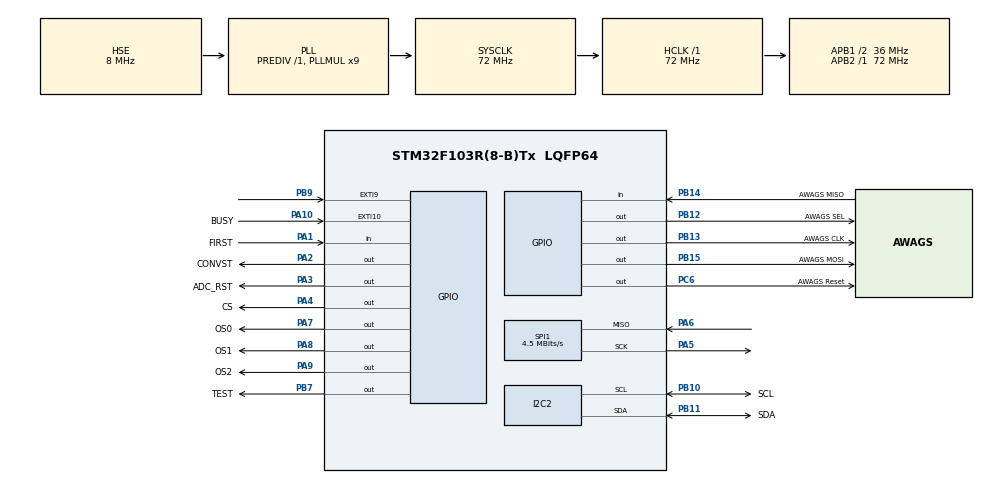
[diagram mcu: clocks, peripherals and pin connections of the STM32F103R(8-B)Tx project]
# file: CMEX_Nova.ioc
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I2C2.NoStretchMode=I2C_NOSTRETCH_DISABLE
I2C2.OwnAddress=22
Mcu.Family=STM32F1
Mcu.Name=STM32F103R(8-B)Tx
Mcu.Package=LQFP64
NVIC.EXTI15_10_IRQn=true\:6\:0\:true\:false\:true\:true\:true\:true
NVIC.I2C2_ER_IRQn=true\:7\:0\:true\:false\:true\:true\:true\:true
NVIC.I2C2_EV_IRQn=true\:7\:0\:true\:false\:true\:true\:true\:true
NVIC.PriorityGroup=NVIC_PRIORITYGROUP_4
NVIC.SPI1_IRQn=true\:2\:0\:true\:false\:true\:true\:true\:true
NVIC.TIM1_UP_IRQn=true\:10\:0\:true\:false\:true\:true\:true\:true
NVIC.TIM3_IRQn=true\:6\:0\:true\:false\:true\:true\:true\:true
PA1.GPIO_Label=FIRST
PA1.Signal=GPIO_Input
PA10.GPIO_Label=BUSY
PA10.GPIO_ModeDefaultEXTI=GPIO_MODE_IT_RISING_FALLING
PA10.Signal=GPXTI10
PA13.Mode=Serial_Wire
PA13.Signal=SYS_JTMS-SWDIO
PA14.Mode=Serial_Wire
PA14.Signal=SYS_JTCK-SWCLK
PA2.GPIO_Label=CONVST
PA2.GPIO_Speed=GPIO_SPEED_FREQ_HIGH
PA2.Signal=GPIO_Output
PA3.GPIO_Label=ADC_RST
PA3.GPIO_Speed=GPIO_SPEED_FREQ_HIGH
PA3.Signal=GPIO_Output
PA4.GPIO_Label=CS
PA4.GPIO_Speed=GPIO_SPEED_FREQ_HIGH
PA4.PinState=GPIO_PIN_SET
PA4.Signal=GPIO_Output
PA5.GPIO_Mode=GPIO_MODE_AF_PP
PA5.Mode=RX_Only_Simplex_Unidirect_Master
PA5.Signal=SPI1_SCK
PA6.Mode=RX_Only_Simplex_Unidirect_Master
PA6.Signal=SPI1_MISO
PA7.GPIO_Label=OS0
PA7.GPIO_Speed=GPIO_SPEED_FREQ_HIGH
PA7.Signal=GPIO_Output
PA8.GPIO_Label=OS1
PA8.GPIO_Speed=GPIO_SPEED_FREQ_HIGH
PA8.Signal=GPIO_Output
PA9.GPIO_Label=OS2
PA9.GPIO_Speed=GPIO_SPEED_FREQ_HIGH
PA9.Signal=GPIO_Output
PB10.GPIO_Label=SCL
PB10.Mode=I2C
PB10.Signal=I2C2_SCL
PB11.GPIO_Label=SDA
PB11.Mode=I2C
PB11.Signal=I2C2_SDA
PB12.GPIO_Label=AWAGS SEL
PB12.Signal=GPIO_Output
PB13.GPIO_Label=AWAGS CLK
PB13.Signal=GPIO_Output
PB14.GPIO_Label=AWAGS MISO
PB14.Signal=GPIO_Input
PB15.GPIO_Label=AWAGS MOSI
PB15.Signal=GPIO_Output
PB7.GPIO_Label=TEST
PB7.GPIO_Speed=GPIO_SPEED_FREQ_HIGH
PB7.Signal=GPIO_Output
PB9.Signal=GPXTI9
PC6.GPIO_Label=AWAGS Reset
PC6.Signal=GPIO_Output
PD0-OSC_IN.Mode=HSE-External-Oscillator
PD0-OSC_IN.Signal=RCC_OSC_IN
PD1-OSC_OUT.Mode=HSE-External-Oscillator
PD1-OSC_OUT.Signal=RCC_OSC_OUT
ProjectManager.HeapSize=0x200
ProjectManager.StackSize=0x400
ProjectManager.TargetToolchain=STM32CubeIDE
RCC.AHBFreq_Value=72000000
RCC.APB1CLKDivider=RCC_HCLK_DIV2
RCC.APB1Freq_Value=36000000
RCC.APB1TimFreq_Value=72000000
RCC.APB2Freq_Value=72000000
RCC.APB2TimFreq_Value=72000000
RCC.HCLKFreq_Value=72000000
RCC.PLLMUL=RCC_PLL_MUL9
RCC.PLLSourceVirtual=RCC_PLLSOURCE_HSE
RCC.SYSCLKFreq_VALUE=72000000
RCC.SYSCLKSource=RCC_SYSCLKSOURCE_PLLCLK
RCC.USBFreq_Value=72000000
SPI1.BaudRatePrescaler=SPI_BAUDRATEPRESCALER_16
SPI1.CLKPolarity=SPI_POLARITY_HIGH
SPI1.CalculateBaudRate=4.5 MBits/s
SPI1.Direction=SPI_DIRECTION_2LINES_RXONLY
SPI1.Mode=SPI_MODE_MASTER
SPI1.VirtualType=VM_MASTER
TIM1.AutoReloadPreload=TIM_AUTORELOAD_PRELOAD_ENABLE
TIM1.Period=20
TIM1.Prescaler=72
TIM3.Prescaler=8
VP_TIM1_VS_ClockSourceINT.Mode=Internal
VP_TIM3_VS_ClockSourceINT.Mode=Internal
board=custom

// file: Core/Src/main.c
/* USER CODE BEGIN Header */
/**
  ******************************************************************************
  * @file           : main.c
  * @brief          : Main program body
  ******************************************************************************
  * @attention
  *
  * Copyright (c) 2024 STMicroelectronics.
  * All rights reserved.
  *
  * This software is licensed under terms that can be found in the LICENSE file
  * in the root directory of this software component.
  * If no LICENSE file comes with this software, it is provided AS-IS.
  *
  ******************************************************************************
  */
/* USER CODE END Header */
#include "main.h"

/* USER CODE BEGIN Includes */
#include "GRM.h"
#include "awags.h"
#include "ringbuffer.h"
#include "i2c_slave.h"
#include "adc.h"
#include "scheduler.h"
/* USER CODE END Includes */

I2C_HandleTypeDef hi2c2;

SPI_HandleTypeDef hspi1;

TIM_HandleTypeDef htim1;
TIM_HandleTypeDef htim3;

/* USER CODE BEGIN PV */

uint8_t adc_data[8];
int16_t adc_results[4];
volatile uint8_t adc_data_available = 0;

/* USER CODE END PV */

void SystemClock_Config(void);
static void MX_GPIO_Init(void);
static void MX_SPI1_Init(void);
static void MX_TIM3_Init(void);
static void MX_I2C2_Init(void);
static void MX_TIM1_Init(void);

/* USER CODE BEGIN 0 */

void main_timer_callback(void)
{
//	GRM_write_counter_into_ringbuffer();		// save count into ring buffer
//	safe_best_ADC_value();						// save best awags measurements into ring buffer
//	awags_trigger_execution();				// start next awags measurements

}
/* USER CODE END 0 */

int main(void)
{

  /* MCU Configuration--------------------------------------------------------*/

  /* Reset of all peripherals, Initializes the Flash interface and the Systick. */
  HAL_Init();

  /* Configure the system clock */
  SystemClock_Config();

  /* Initialize all configured peripherals */
  MX_GPIO_Init();
  MX_SPI1_Init();
  MX_TIM3_Init();
  MX_I2C2_Init();
  MX_TIM1_Init();
  /* USER CODE BEGIN 2 */
  MX_I2C2_Init();
  //MX_TIM1_Init();
  scheduler_init();
  scheduler_add(adc_start_conversion, 500, 0);
  adc_reset();
  //__HAL_TIM_SET_AUTORELOAD(&htim1,1000); //100.000 µsec
  HAL_TIM_Base_Start_IT(&htim1);
  HAL_GPIO_TogglePin(TEST_GPIO_Port, TEST_Pin);
  //HAL_Delay(5);
  //HAL_I2C_EnableListen_IT(&hi2c2);

  /* USER CODE END 2 */

  /* Infinite loop */
  /* USER CODE BEGIN WHILE */
  RINGBUFFER_DataItem data_dummy;
  data_dummy.data.data32_t = 0xDEADBEEF;
  data_dummy.type = 0xAA;
  data_dummy.timestamp = 0xBBBBCCCC;

  RINGBUFFER_DataItem test1;
  test1.data.data32_t = 3;
  test1.timestamp = 123456;
  test1.type = 5;
  RINGBUFFER_enqueue(test1);
  test1.data.data32_t = 5;
  RINGBUFFER_enqueue(test1);
  test1.data.data32_t = 99;
  RINGBUFFER_enqueue(test1);
  test1.data.data32_t = 45;
  RINGBUFFER_enqueue(test1);
  test1.data.data32_t = 22;
  RINGBUFFER_enqueue(test1);

  awags_reset(true);

  while (1)
  {

	scheduler_run();

    uint8_t a = 0;
    a++;
    uint8_t b = a;
    RINGBUFFER_DataItem data;
//    if(i2c_data_buffer_empty() == I2C_BUFFER_EMPTY){
//    	if(!RINGBUFFER_isEmpty()){
//    		RINGBUFFER_dequeue(&data);
//    	}else{
//    		data = data_dummy;
//    	}
//
//    	i2c_load_data_to_buffer((uint8_t*) &data);
//    }
//    HAL_GPIO_TogglePin(TEST_GPIO_Port, TEST_Pin);
//        HAL_Delay(50);
    /* USER CODE END WHILE */

  }
}

void SystemClock_Config(void)
{
  RCC_OscInitTypeDef RCC_OscInitStruct = {0};
  RCC_ClkInitTypeDef RCC_ClkInitStruct = {0};

  /** Initializes the RCC Oscillators according to the specified parameters
  * in the RCC_OscInitTypeDef structure.
  */
  RCC_OscInitStruct.OscillatorType = RCC_OSCILLATORTYPE_HSE;
  RCC_OscInitStruct.HSEState = RCC_HSE_ON;
  RCC_OscInitStruct.HSEPredivValue = RCC_HSE_PREDIV_DIV1;
  RCC_OscInitStruct.HSIState = RCC_HSI_ON;
  RCC_OscInitStruct.PLL.PLLState = RCC_PLL_ON;
  RCC_OscInitStruct.PLL.PLLSource = RCC_PLLSOURCE_HSE;
  RCC_OscInitStruct.PLL.PLLMUL = RCC_PLL_MUL9;
  if (HAL_RCC_OscConfig(&RCC_OscInitStruct) != HAL_OK)
  {
    Error_Handler();
  }

  /** Initializes the CPU, AHB and APB buses clocks
  */
  RCC_ClkInitStruct.ClockType = RCC_CLOCKTYPE_HCLK|RCC_CLOCKTYPE_SYSCLK
                              |RCC_CLOCKTYPE_PCLK1|RCC_CLOCKTYPE_PCLK2;
  RCC_ClkInitStruct.SYSCLKSource = RCC_SYSCLKSOURCE_PLLCLK;
  RCC_ClkInitStruct.AHBCLKDivider = RCC_SYSCLK_DIV1;
  RCC_ClkInitStruct.APB1CLKDivider = RCC_HCLK_DIV2;
  RCC_ClkInitStruct.APB2CLKDivider = RCC_HCLK_DIV1;

  if (HAL_RCC_ClockConfig(&RCC_ClkInitStruct, FLASH_LATENCY_2) != HAL_OK)
  {
    Error_Handler();
  }
}

static void MX_I2C2_Init(void)
{

  hi2c2.Instance = I2C2;
  hi2c2.Init.ClockSpeed = 100000;
  hi2c2.Init.DutyCycle = I2C_DUTYCYCLE_2;
  hi2c2.Init.OwnAddress1 = 44;
  hi2c2.Init.AddressingMode = I2C_ADDRESSINGMODE_7BIT;
  hi2c2.Init.DualAddressMode = I2C_DUALADDRESS_DISABLE;
  hi2c2.Init.OwnAddress2 = 0;
  hi2c2.Init.GeneralCallMode = I2C_GENERALCALL_DISABLE;
  hi2c2.Init.NoStretchMode = I2C_NOSTRETCH_DISABLE;
  if (HAL_I2C_Init(&hi2c2) != HAL_OK)
  {
    Error_Handler();
  }

}

static void MX_SPI1_Init(void)
{

  /* SPI1 parameter configuration*/
  hspi1.Instance = SPI1;
  hspi1.Init.Mode = SPI_MODE_MASTER;
  hspi1.Init.Direction = SPI_DIRECTION_2LINES_RXONLY;
  hspi1.Init.DataSize = SPI_DATASIZE_8BIT;
  hspi1.Init.CLKPolarity = SPI_POLARITY_HIGH;
  hspi1.Init.CLKPhase = SPI_PHASE_1EDGE;
  hspi1.Init.NSS = SPI_NSS_SOFT;
  hspi1.Init.BaudRatePrescaler = SPI_BAUDRATEPRESCALER_16;
  hspi1.Init.FirstBit = SPI_FIRSTBIT_MSB;
  hspi1.Init.TIMode = SPI_TIMODE_DISABLE;
  hspi1.Init.CRCCalculation = SPI_CRCCALCULATION_DISABLE;
  hspi1.Init.CRCPolynomial = 10;
  if (HAL_SPI_Init(&hspi1) != HAL_OK)
  {
    Error_Handler();
  }

}

static void MX_TIM1_Init(void)
{

  TIM_ClockConfigTypeDef sClockSourceConfig = {0};
  TIM_MasterConfigTypeDef sMasterConfig = {0};

  htim1.Instance = TIM1;
  htim1.Init.Prescaler = 72;
  htim1.Init.CounterMode = TIM_COUNTERMODE_UP;
  htim1.Init.Period = 20;
  htim1.Init.ClockDivision = TIM_CLOCKDIVISION_DIV1;
  htim1.Init.RepetitionCounter = 0;
  htim1.Init.AutoReloadPreload = TIM_AUTORELOAD_PRELOAD_ENABLE;
  if (HAL_TIM_Base_Init(&htim1) != HAL_OK)
  {
    Error_Handler();
  }
  sClockSourceConfig.ClockSource = TIM_CLOCKSOURCE_INTERNAL;
  if (HAL_TIM_ConfigClockSource(&htim1, &sClockSourceConfig) != HAL_OK)
  {
    Error_Handler();
  }
  sMasterConfig.MasterOutputTrigger = TIM_TRGO_RESET;
  sMasterConfig.MasterSlaveMode = TIM_MASTERSLAVEMODE_DISABLE;
  if (HAL_TIMEx_MasterConfigSynchronization(&htim1, &sMasterConfig) != HAL_OK)
  {
    Error_Handler();
  }

}

static void MX_TIM3_Init(void)
{

  TIM_ClockConfigTypeDef sClockSourceConfig = {0};
  TIM_MasterConfigTypeDef sMasterConfig = {0};

  htim3.Instance = TIM3;
  htim3.Init.Prescaler = 8;
  htim3.Init.CounterMode = TIM_COUNTERMODE_UP;
  htim3.Init.Period = 65535;
  htim3.Init.ClockDivision = TIM_CLOCKDIVISION_DIV1;
  htim3.Init.AutoReloadPreload = TIM_AUTORELOAD_PRELOAD_DISABLE;
  if (HAL_TIM_Base_Init(&htim3) != HAL_OK)
  {
    Error_Handler();
  }
  sClockSourceConfig.ClockSource = TIM_CLOCKSOURCE_INTERNAL;
  if (HAL_TIM_ConfigClockSource(&htim3, &sClockSourceConfig) != HAL_OK)
  {
    Error_Handler();
  }
  sMasterConfig.MasterOutputTrigger = TIM_TRGO_RESET;
  sMasterConfig.MasterSlaveMode = TIM_MASTERSLAVEMODE_DISABLE;
  if (HAL_TIMEx_MasterConfigSynchronization(&htim3, &sMasterConfig) != HAL_OK)
  {
    Error_Handler();
  }

}

static void MX_GPIO_Init(void)
{
  GPIO_InitTypeDef GPIO_InitStruct = {0};

  /* GPIO Ports Clock Enable */
  __HAL_RCC_GPIOD_CLK_ENABLE();
  __HAL_RCC_GPIOA_CLK_ENABLE();
  __HAL_RCC_GPIOB_CLK_ENABLE();
  __HAL_RCC_GPIOC_CLK_ENABLE();

  /*Configure GPIO pin Output Level */
  HAL_GPIO_WritePin(GPIOA, CONVST_Pin|ADC_RST_Pin|OS0_Pin|OS1_Pin
                          |OS2_Pin, GPIO_PIN_RESET);

  /*Configure GPIO pin Output Level */
  HAL_GPIO_WritePin(CS_GPIO_Port, CS_Pin, GPIO_PIN_SET);

  /*Configure GPIO pin Output Level */
  HAL_GPIO_WritePin(GPIOB, AWAGS_SEL_Pin|AWAGS_CLK_Pin|AWAGS_MOSI_Pin|TEST_Pin, GPIO_PIN_RESET);

  /*Configure GPIO pin Output Level */
  HAL_GPIO_WritePin(AWAGS_Reset_GPIO_Port, AWAGS_Reset_Pin, GPIO_PIN_RESET);

  /*Configure GPIO pin : FIRST_Pin */
  GPIO_InitStruct.Pin = FIRST_Pin;
  GPIO_InitStruct.Mode = GPIO_MODE_INPUT;
  GPIO_InitStruct.Pull = GPIO_NOPULL;
  HAL_GPIO_Init(FIRST_GPIO_Port, &GPIO_InitStruct);

  /*Configure GPIO pins : CONVST_Pin ADC_RST_Pin CS_Pin OS0_Pin
                           OS1_Pin OS2_Pin */
  GPIO_InitStruct.Pin = CONVST_Pin|ADC_RST_Pin|CS_Pin|OS0_Pin
                          |OS1_Pin|OS2_Pin;
  GPIO_InitStruct.Mode = GPIO_MODE_OUTPUT_PP;
  GPIO_InitStruct.Pull = GPIO_NOPULL;
  GPIO_InitStruct.Speed = GPIO_SPEED_FREQ_HIGH;
  HAL_GPIO_Init(GPIOA, &GPIO_InitStruct);

  /*Configure GPIO pins : AWAGS_SEL_Pin AWAGS_CLK_Pin AWAGS_MOSI_Pin */
  GPIO_InitStruct.Pin = AWAGS_SEL_Pin|AWAGS_CLK_Pin|AWAGS_MOSI_Pin;
  GPIO_InitStruct.Mode = GPIO_MODE_OUTPUT_PP;
  GPIO_InitStruct.Pull = GPIO_NOPULL;
  GPIO_InitStruct.Speed = GPIO_SPEED_FREQ_LOW;
  HAL_GPIO_Init(GPIOB, &GPIO_InitStruct);

  /*Configure GPIO pin : AWAGS_MISO_Pin */
  GPIO_InitStruct.Pin = AWAGS_MISO_Pin;
  GPIO_InitStruct.Mode = GPIO_MODE_INPUT;
  GPIO_InitStruct.Pull = GPIO_NOPULL;
  HAL_GPIO_Init(AWAGS_MISO_GPIO_Port, &GPIO_InitStruct);

  /*Configure GPIO pin : AWAGS_Reset_Pin */
  GPIO_InitStruct.Pin = AWAGS_Reset_Pin;
  GPIO_InitStruct.Mode = GPIO_MODE_OUTPUT_PP;
  GPIO_InitStruct.Pull = GPIO_NOPULL;
  GPIO_InitStruct.Speed = GPIO_SPEED_FREQ_LOW;
  HAL_GPIO_Init(AWAGS_Reset_GPIO_Port, &GPIO_InitStruct);

  /*Configure GPIO pin : BUSY_Pin */
  GPIO_InitStruct.Pin = BUSY_Pin;
  GPIO_InitStruct.Mode = GPIO_MODE_IT_RISING_FALLING;
  GPIO_InitStruct.Pull = GPIO_NOPULL;
  HAL_GPIO_Init(BUSY_GPIO_Port, &GPIO_InitStruct);

  /*Configure GPIO pin : TEST_Pin */
  GPIO_InitStruct.Pin = TEST_Pin;
  GPIO_InitStruct.Mode = GPIO_MODE_OUTPUT_PP;
  GPIO_InitStruct.Pull = GPIO_NOPULL;
  GPIO_InitStruct.Speed = GPIO_SPEED_FREQ_HIGH;
  HAL_GPIO_Init(TEST_GPIO_Port, &GPIO_InitStruct);

  /*Configure GPIO pin : PB9 */
  GPIO_InitStruct.Pin = GPIO_PIN_9;
  GPIO_InitStruct.Mode = GPIO_MODE_IT_RISING;
  GPIO_InitStruct.Pull = GPIO_NOPULL;
  HAL_GPIO_Init(GPIOB, &GPIO_InitStruct);

  /* EXTI interrupt init*/
  HAL_NVIC_SetPriority(EXTI15_10_IRQn, 6, 0);
  HAL_NVIC_EnableIRQ(EXTI15_10_IRQn);

}

/* USER CODE BEGIN 4 */
void HAL_GPIO_EXTI_Callback(uint16_t GPIO_Pin)
{
	if(GPIO_Pin == BUSY_Pin){	// ADC Data ready
		if (HAL_GPIO_ReadPin(BUSY_GPIO_Port,BUSY_Pin)) {
			// if BUSY is high, conversion started, pin can be set low
			HAL_GPIO_WritePin(CONVST_GPIO_Port, CONVST_Pin, GPIO_PIN_RESET);
		} else {
			// if busy switched to low, conversion is finished, data ready to read
			HAL_GPIO_WritePin(CS_GPIO_Port,CS_Pin, GPIO_PIN_RESET);	// set chip select active
			uint8_t tmpreg = READ_REG(hspi1.Instance->DR); //clear garbage from receive-buffer
			//HAL_SPI_Abort_IT(&hspi1);
			HAL_SPI_Receive_IT(&hspi1, adc_data, sizeof(adc_data));
			HAL_GPIO_WritePin(CONVST_GPIO_Port, CONVST_Pin, GPIO_PIN_RESET);
		}
	}
	if(GPIO_Pin == GPIO_PIN_9) {	// GRM pulse
		GRM_new_pulse();
	}
}

void HAL_SPI_RxCpltCallback(SPI_HandleTypeDef *hspi){
	HAL_GPIO_WritePin(CS_GPIO_Port,CS_Pin, GPIO_PIN_SET);	// set Chip select deactive
	//save_ADC_measurement(adc_data,sizeof(adc_data));
	for(uint8_t i = 0; i<4 ; i++){
		adc_results[i] = adc_data[i*2] << 8 | adc_data[i*2+1];
	}

}

/* USER CODE END 4 */

void Error_Handler(void)
{
  __disable_irq();
  while (1)
  {
  }
}
